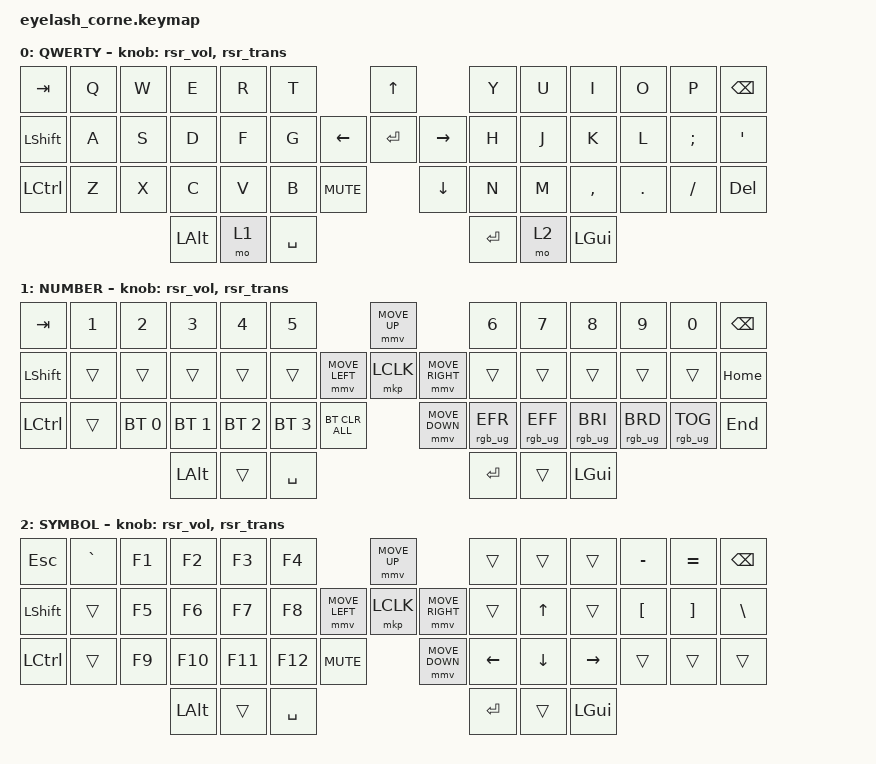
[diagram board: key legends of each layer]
#define ZMK_POINTING_DEFAULT_MOVE_VAL 1200  // 600
#define ZMK_POINTING_DEFAULT_SCRL_VAL 25   // 10

#include <input/processors.dtsi>
#include <zephyr/dt-bindings/input/input-event-codes.h>
#include <behaviors/runtime-sensor-rotate.dtsi>
#include <behaviors.dtsi>
#include <dt-bindings/zmk/bt.h>
#include <dt-bindings/zmk/keys.h>
#include <dt-bindings/zmk/pointing.h>
#include <dt-bindings/zmk/rgb.h>

&soft_off { hold-time-ms = <2000>; };

/ {
    behaviors {
        td0: td0 {
            compatible = "zmk,behavior-tap-dance";
            display-name = "Shift/Caps Lock Tap Dance";
            #binding-cells = <0>;
            bindings = <&kp LEFT_SHIFT>, <&kp CAPS>;
        };

        rsr_vol: rsr_vol {
            compatible = "zmk,behavior-runtime-sensor-rotate";
            #sensor-binding-cells = <0>;
            tap-ms = <5>;
            cw-binding = <&kp C_VOL_UP>;
            ccw-binding = <&kp C_VOL_DN>;
        };

        rsr_trans: rsr_trans {
            compatible = "zmk,behavior-runtime-sensor-rotate";
            #sensor-binding-cells = <0>;
            tap-ms = <0>;
        };
    };

    combos {
        compatible = "zmk,combos";

        softoff {
            bindings = <&soft_off>;
            key-positions = <1 15 29>;
        };
    };

    keymap {
        compatible = "zmk,keymap";

        default_layer {
            display-name = "QWERTY";
            bindings = <
&kp TAB    &kp Q  &kp W  &kp E     &kp R  &kp T                              &kp UP                &kp Y      &kp U  &kp I      &kp O    &kp P     &kp BSPC
&kp LSHFT  &kp A  &kp S  &kp D     &kp F  &kp G                    &kp LEFT  &kp ENTER  &kp RIGHT  &kp H      &kp J  &kp K      &kp L    &kp SEMI  &kp SQT
&kp LCTRL  &kp Z  &kp X  &kp C     &kp V  &kp B      &kp C_MUTE              &kp DOWN              &kp N      &kp M  &kp COMMA  &kp DOT  &kp FSLH  &kp DELETE
                         &kp LALT  &mo 1  &kp SPACE                                                &kp ENTER  &mo 2  &kp LGUI
            >;

            sensor-bindings = <&rsr_vol &rsr_trans>;
        };

        lower_layer {
            display-name = "NUMBER";
            bindings = <
&kp TAB    &kp N1  &kp N2        &kp N3        &kp N4        &kp N5                                          &mmv MOVE_UP                     &kp N6           &kp N7           &kp N8           &kp N9           &kp N0           &kp BSPC
&kp LSHFT  &trans  &trans        &trans        &trans        &trans                          &mmv MOVE_LEFT  &mkp LCLK       &mmv MOVE_RIGHT  &trans           &trans           &trans           &trans           &trans           &kp HOME
&kp LCTRL  &trans  &bt BT_SEL 0  &bt BT_SEL 1  &bt BT_SEL 2  &bt BT_SEL 3  &bt BT_CLR_ALL                    &mmv MOVE_DOWN                   &rgb_ug RGB_EFR  &rgb_ug RGB_EFF  &rgb_ug RGB_BRI  &rgb_ug RGB_BRD  &rgb_ug RGB_TOG  &kp END
                                 &kp LALT      &trans        &kp SPACE                                                                        &kp ENTER        &trans           &kp LGUI
            >;

            sensor-bindings = <&rsr_vol &rsr_trans>;
        };

        raise_layer {
            display-name = "SYMBOL";
            bindings = <
&kp ESC    &kp GRAVE  &kp F1  &kp F2    &kp F3   &kp F4                                   &mmv MOVE_UP                     &trans    &trans    &trans     &kp MINUS  &kp EQUAL  &kp BSPC
&kp LSHFT  &trans     &kp F5  &kp F6    &kp F7   &kp F8                   &mmv MOVE_LEFT  &mkp LCLK       &mmv MOVE_RIGHT  &trans    &kp UP    &trans     &kp LBKT   &kp RBKT   &kp BSLH
&kp LCTRL  &trans     &kp F9  &kp F10   &kp F11  &kp F12    &kp C_MUTE                    &mmv MOVE_DOWN                   &kp LEFT  &kp DOWN  &kp RIGHT  &trans     &trans     &trans
                              &kp LALT  &trans   &kp SPACE                                                                 &kp RET   &trans    &kp LGUI
            >;

            sensor-bindings = <&rsr_vol &rsr_trans>;
        };
    };
};
